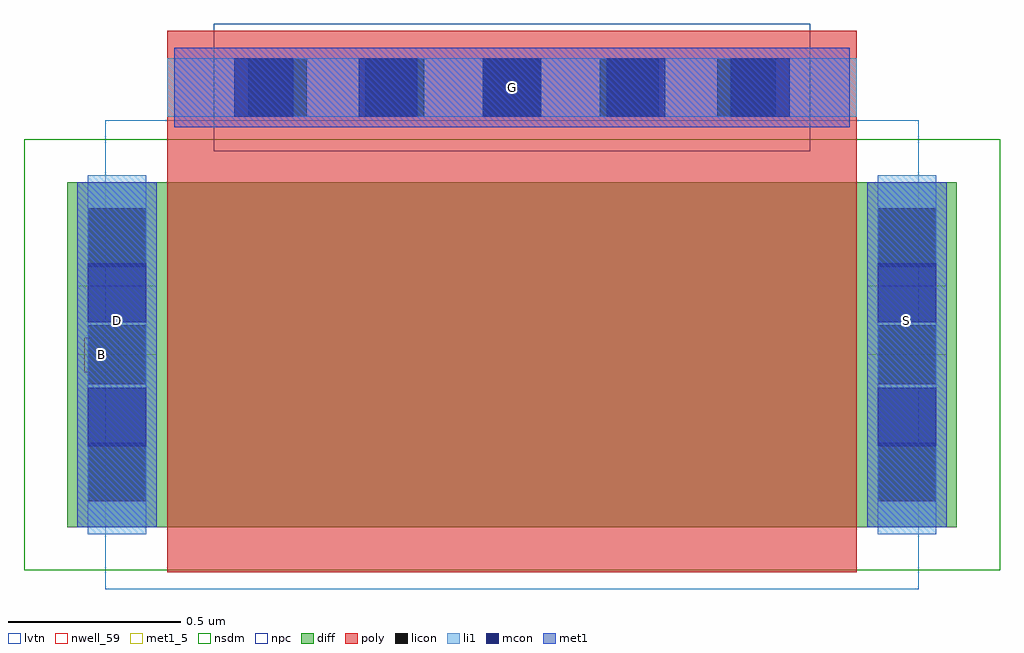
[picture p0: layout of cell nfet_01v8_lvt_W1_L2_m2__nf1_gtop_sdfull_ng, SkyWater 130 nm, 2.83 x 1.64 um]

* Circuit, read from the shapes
.subckt nfet_01v8_lvt_W1_L2_m2__nf1_gtop_sdfull_ng B D G S
XM1 S G D B sky130_fd_pr__nfet_01v8_lvt w=1 l=2
.ends

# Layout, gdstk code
import gdstk
lib = gdstk.Library(unit=1e-6, precision=1e-09)
def R(c, l, rs):  # rectangles x0, y0, x1, y1
    for r in rs: c.add(gdstk.rectangle(r[:2], r[2:], *l))
def A(c, l, x, y, w, h, nx, ny, dx, dy):  # array of equal rectangles
    R(c, l, [(x+i*dx, y+j*dy, x+i*dx+w, y+j*dy+h) for i in range(nx) for j in range(ny)])
nwell_59 = (64, 59)
diff = (65, 20)
poly = (66, 20)
licon = (66, 44)
li1 = (67, 20)
mcon = (67, 44)
met1_5 = (68, 5)
met1 = (68, 20)
nsdm = (93, 44)
npc = (95, 20)
lvtn = (125, 44)

sky130_fd_pr__nfet_01v8_ = lib.new_cell('sky130_fd_pr__nfet_01v8_lvt_G9HUJD')
R(sky130_fd_pr__nfet_01v8_, diff, [(-1.29,-0.655,1.29,0.345)])
R(sky130_fd_pr__nfet_01v8_, poly, [(-1,-0.785,1,0.785)])
A(sky130_fd_pr__nfet_01v8_, licon, -1.23, -0.58, 0.17, 0.17, 1, 3, 0, 0.34)
A(sky130_fd_pr__nfet_01v8_, licon, 1.06, -0.58, 0.17, 0.17, 1, 3, 0, 0.34)
A(sky130_fd_pr__nfet_01v8_, licon, -0.765, 0.535, 0.17, 0.17, 5, 1, 0.34, 0)
R(sky130_fd_pr__nfet_01v8_, li1, [(-1.23,-0.675,-1.06,0.365), (1.06,-0.675,1.23,0.365), (-1,0.535,1,0.705)])
A(sky130_fd_pr__nfet_01v8_, mcon, -0.805, 0.535, 0.17, 0.17, 5, 1, 0.36, 0)
R(sky130_fd_pr__nfet_01v8_, mcon, [(-1.23,-0.42,-1.06,-0.25), (1.06,-0.42,1.23,-0.25), (-1.23,-0.06,-1.06,0.11), (1.06,-0.06,1.23,0.11)])
R(sky130_fd_pr__nfet_01v8_, met1, [(-1.26,-0.655,-1.03,0.345), (1.03,-0.655,1.26,0.345), (-0.98,0.505,0.98,0.735)])
R(sky130_fd_pr__nfet_01v8_, nsdm, [(-1.415,-0.78,1.415,0.47)])
R(sky130_fd_pr__nfet_01v8_, npc, [(-0.865,0.435,0.865,0.805)])
R(sky130_fd_pr__nfet_01v8_, lvtn, [(-1.18,-0.835,1.18,0.525)])
sky130_fd_pr__nfet_01v8_.add(gdstk.Label('D', (-1.145,-0.155), layer=67, texttype=5))
sky130_fd_pr__nfet_01v8_.add(gdstk.Label('S', (1.145,-0.155), layer=67, texttype=5))
sky130_fd_pr__nfet_01v8_.add(gdstk.Label('G', (0,0.62), layer=67, texttype=5))

nfet_01v8_lvt_w1_l2_m2__ = lib.new_cell('nfet_01v8_lvt_W1_L2_m2__nf1_gtop_sdfull_ng')
R(nfet_01v8_lvt_w1_l2_m2__, nwell_59, [(0.05,0.58,0.15,0.68)])
R(nfet_01v8_lvt_w1_l2_m2__, met1_5, [(0.03,0.63,0.26,0.83), (2.32,0.63,2.55,0.83), (0.31,1.29,2.27,1.52)])
R(nfet_01v8_lvt_w1_l2_m2__, met1, [(0.03,0.63,0.26,0.83), (2.32,0.63,2.55,0.83), (0.31,1.29,2.27,1.52)])
nfet_01v8_lvt_w1_l2_m2__.add(gdstk.Reference(sky130_fd_pr__nfet_01v8_, (1.29,0.785)))
nfet_01v8_lvt_w1_l2_m2__.add(gdstk.Label('D', (0.145,0.73), layer=68, texttype=5))
nfet_01v8_lvt_w1_l2_m2__.add(gdstk.Label('S', (2.435,0.73), layer=68, texttype=5))
nfet_01v8_lvt_w1_l2_m2__.add(gdstk.Label('G', (1.29,1.405), layer=68, texttype=5))
nfet_01v8_lvt_w1_l2_m2__.add(gdstk.Label('B', (0.1,0.63), layer=64, texttype=59))

lib.write_gds('nfet_01v8_lvt_W1_L2_m2__nf1_gtop_sdfull_ng.gds')
